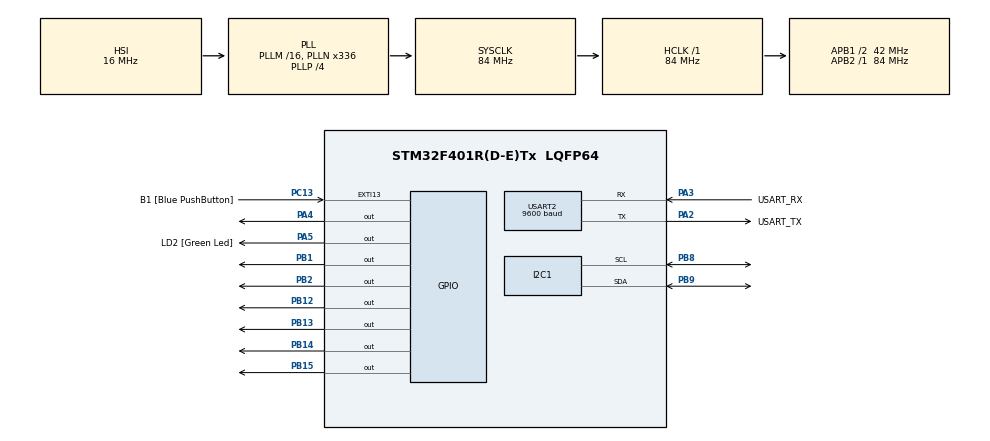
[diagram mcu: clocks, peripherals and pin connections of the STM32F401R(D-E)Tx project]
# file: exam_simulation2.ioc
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ADC1.Channel-0\#ChannelRegularConversion=ADC_CHANNEL_TEMPSENSOR
ADC1.DMAContinuousRequests=ENABLE
ADC1.ExternalTrigConv=ADC_EXTERNALTRIGCONV_T2_TRGO
ADC1.NbrOfConversionFlag=1
ADC1.Rank-0\#ChannelRegularConversion=1
ADC1.SamplingTime-0\#ChannelRegularConversion=ADC_SAMPLETIME_480CYCLES
ADC1.master=1
Dma.ADC1.3.Direction=DMA_PERIPH_TO_MEMORY
Dma.ADC1.3.FIFOMode=DMA_FIFOMODE_DISABLE
Dma.ADC1.3.Instance=DMA2_Stream0
Dma.ADC1.3.MemDataAlignment=DMA_MDATAALIGN_HALFWORD
Dma.ADC1.3.MemInc=DMA_MINC_ENABLE
Dma.ADC1.3.Mode=DMA_CIRCULAR
Dma.ADC1.3.PeriphDataAlignment=DMA_PDATAALIGN_HALFWORD
Dma.ADC1.3.PeriphInc=DMA_PINC_DISABLE
Dma.ADC1.3.Priority=DMA_PRIORITY_LOW
Dma.I2C1_RX.2.Direction=DMA_PERIPH_TO_MEMORY
Dma.I2C1_RX.2.FIFOMode=DMA_FIFOMODE_DISABLE
Dma.I2C1_RX.2.Instance=DMA1_Stream0
Dma.I2C1_RX.2.MemDataAlignment=DMA_MDATAALIGN_BYTE
Dma.I2C1_RX.2.MemInc=DMA_MINC_ENABLE
Dma.I2C1_RX.2.Mode=DMA_NORMAL
Dma.I2C1_RX.2.PeriphDataAlignment=DMA_PDATAALIGN_BYTE
Dma.I2C1_RX.2.PeriphInc=DMA_PINC_DISABLE
Dma.I2C1_RX.2.Priority=DMA_PRIORITY_LOW
Dma.I2C1_TX.1.Direction=DMA_MEMORY_TO_PERIPH
Dma.I2C1_TX.1.FIFOMode=DMA_FIFOMODE_DISABLE
Dma.I2C1_TX.1.Instance=DMA1_Stream7
Dma.I2C1_TX.1.MemDataAlignment=DMA_MDATAALIGN_BYTE
Dma.I2C1_TX.1.MemInc=DMA_MINC_ENABLE
Dma.I2C1_TX.1.Mode=DMA_NORMAL
Dma.I2C1_TX.1.PeriphDataAlignment=DMA_PDATAALIGN_BYTE
Dma.I2C1_TX.1.PeriphInc=DMA_PINC_DISABLE
Dma.I2C1_TX.1.Priority=DMA_PRIORITY_LOW
Dma.Request0=USART2_TX
Dma.Request1=I2C1_TX
Dma.Request2=I2C1_RX
Dma.Request3=ADC1
Dma.USART2_TX.0.Direction=DMA_MEMORY_TO_PERIPH
Dma.USART2_TX.0.FIFOMode=DMA_FIFOMODE_DISABLE
Dma.USART2_TX.0.Instance=DMA1_Stream6
Dma.USART2_TX.0.MemDataAlignment=DMA_MDATAALIGN_BYTE
Dma.USART2_TX.0.MemInc=DMA_MINC_ENABLE
Dma.USART2_TX.0.Mode=DMA_NORMAL
Dma.USART2_TX.0.PeriphDataAlignment=DMA_PDATAALIGN_BYTE
Dma.USART2_TX.0.PeriphInc=DMA_PINC_DISABLE
Dma.USART2_TX.0.Priority=DMA_PRIORITY_LOW
Mcu.Family=STM32F4
Mcu.Name=STM32F401R(D-E)Tx
Mcu.Package=LQFP64
NVIC.ADC_IRQn=true\:0\:0\:false\:false\:true\:true\:true\:true
NVIC.DMA1_Stream0_IRQn=true\:1\:0\:true\:false\:true\:false\:true\:true
NVIC.DMA1_Stream6_IRQn=true\:1\:0\:true\:false\:true\:false\:true\:true
NVIC.DMA1_Stream7_IRQn=true\:1\:0\:true\:false\:true\:false\:true\:true
NVIC.DMA2_Stream0_IRQn=true\:1\:0\:true\:false\:true\:false\:true\:true
NVIC.I2C1_ER_IRQn=true\:0\:0\:false\:false\:true\:true\:true\:true
NVIC.I2C1_EV_IRQn=true\:0\:0\:false\:false\:true\:true\:true\:true
NVIC.PriorityGroup=NVIC_PRIORITYGROUP_1
NVIC.TIM2_IRQn=true\:0\:0\:false\:false\:true\:true\:true\:true
NVIC.USART2_IRQn=true\:0\:0\:false\:false\:true\:true\:true\:true
PA13.GPIO_Label=TMS
PA13.Mode=Serial_Wire
PA13.Signal=SYS_JTMS-SWDIO
PA14.GPIO_Label=TCK
PA14.Mode=Serial_Wire
PA14.Signal=SYS_JTCK-SWCLK
PA2.GPIO_Label=USART_TX
PA2.GPIO_Mode=GPIO_MODE_AF_PP
PA2.GPIO_PuPd=GPIO_NOPULL
PA2.GPIO_Speed=GPIO_SPEED_FREQ_LOW
PA2.Mode=Asynchronous
PA2.Signal=USART2_TX
PA3.GPIO_Label=USART_RX
PA3.GPIO_Mode=GPIO_MODE_AF_PP
PA3.GPIO_PuPd=GPIO_NOPULL
PA3.GPIO_Speed=GPIO_SPEED_FREQ_LOW
PA3.Mode=Asynchronous
PA3.Signal=USART2_RX
PA4.Signal=GPIO_Output
PA5.GPIO_Label=LD2 [Green Led]
PA5.GPIO_Mode=GPIO_MODE_OUTPUT_PP
PA5.GPIO_PuPd=GPIO_NOPULL
PA5.GPIO_Speed=GPIO_SPEED_FREQ_LOW
PA5.Signal=GPIO_Output
PB1.Signal=GPIO_Output
PB12.Signal=GPIO_Output
PB13.Signal=GPIO_Output
PB14.Signal=GPIO_Output
PB15.Signal=GPIO_Output
PB2.Signal=GPIO_Output
PB3.GPIO_Label=SWO
PB3.Signal=SYS_JTDO-SWO
PB8.Mode=I2C
PB8.Signal=I2C1_SCL
PB9.Mode=I2C
PB9.Signal=I2C1_SDA
PC13-ANTI_TAMP.GPIO_Label=B1 [Blue PushButton]
PC13-ANTI_TAMP.GPIO_ModeDefaultEXTI=GPIO_MODE_IT_FALLING
PC13-ANTI_TAMP.GPIO_PuPd=GPIO_NOPULL
PC13-ANTI_TAMP.Signal=GPXTI13
PC14-OSC32_IN.Mode=LSE-External-Oscillator
PC14-OSC32_IN.Signal=RCC_OSC32_IN
PC15-OSC32_OUT.Mode=LSE-External-Oscillator
PC15-OSC32_OUT.Signal=RCC_OSC32_OUT
PH0\ -\ OSC_IN.Mode=HSE-External-Clock-Source
PH0\ -\ OSC_IN.Signal=RCC_OSC_IN
PH1\ -\ OSC_OUT.Mode=HSE-External-Clock-Source
PH1\ -\ OSC_OUT.Signal=RCC_OSC_OUT
ProjectManager.HeapSize=0x200
ProjectManager.StackSize=0x400
ProjectManager.TargetToolchain=STM32CubeIDE
RCC.48MHZClocksFreq_Value=48000000
RCC.AHBFreq_Value=84000000
RCC.APB1CLKDivider=RCC_HCLK_DIV2
RCC.APB1Freq_Value=42000000
RCC.APB1TimFreq_Value=84000000
RCC.APB2Freq_Value=84000000
RCC.APB2TimFreq_Value=84000000
RCC.CortexFreq_Value=84000000
RCC.HCLKFreq_Value=84000000
RCC.HSE_VALUE=8000000
RCC.HSI_VALUE=16000000
RCC.PLLN=336
RCC.PLLP=RCC_PLLP_DIV4
RCC.PLLQ=7
RCC.SYSCLKFreq_VALUE=84000000
RCC.SYSCLKSource=RCC_SYSCLKSOURCE_PLLCLK
RCC.VCOOutputFreq_Value=336000000
TIM2.Period=9999
TIM2.Prescaler=8399
TIM2.TIM_MasterOutputTrigger=TIM_TRGO_UPDATE
USART2.BaudRate=9600
USART2.VirtualMode=VM_ASYNC
VP_ADC1_TempSens_Input.Mode=IN-TempSens
VP_TIM2_VS_ClockSourceINT.Mode=Internal
board=NUCLEO-F401RE

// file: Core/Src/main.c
/* USER CODE BEGIN Header */
/**
  ******************************************************************************
  * @file           : main.c
  * @brief          : Main program body
  ******************************************************************************
  * @attention
  *
  * Copyright (c) 2024 STMicroelectronics.
  * All rights reserved.
  *
  * This software is licensed under terms that can be found in the LICENSE file
  * in the root directory of this software component.
  * If no LICENSE file comes with this software, it is provided AS-IS.
  *
  ******************************************************************************
  */
/* USER CODE END Header */
#include "main.h"

/* USER CODE BEGIN Includes */
#include <stdio.h>
#include "PMDB16_LCD.h"
/* USER CODE END Includes */

/* USER CODE BEGIN PD */
#define CONVERSIONS 1
#define FSR 3.3
#define V25 0.76
#define RESOLUTION_STEPS 4096.0
#define AVG_SLOPE 2.5
/* USER CODE END PD */

ADC_HandleTypeDef hadc1;
DMA_HandleTypeDef hdma_adc1;

I2C_HandleTypeDef hi2c1;
DMA_HandleTypeDef hdma_i2c1_tx;
DMA_HandleTypeDef hdma_i2c1_rx;

TIM_HandleTypeDef htim2;

UART_HandleTypeDef huart2;
DMA_HandleTypeDef hdma_usart2_tx;

void SystemClock_Config(void);
static void MX_GPIO_Init(void);
static void MX_DMA_Init(void);
static void MX_USART2_UART_Init(void);
static void MX_I2C1_Init(void);
static void MX_ADC1_Init(void);
static void MX_TIM2_Init(void);

/* USER CODE BEGIN 0 */
uint16_t adc_value; // array to be filled by ADC with DMA
uint16_t address = 0b10010000;	// address of temperature sensor
uint8_t reg_address = 0x00;		// address of temperature register
uint8_t array[2];				// array to contain bytes acquired from the temperature register
uint8_t int_temp;
char string2[128];
char string1[128];				// string to be transmitted through UART
int len1, len2;						// length of string
/* USER CODE END 0 */

int main(void)
{

  /* MCU Configuration--------------------------------------------------------*/

  /* Reset of all peripherals, Initializes the Flash interface and the Systick. */
  HAL_Init();

  /* Configure the system clock */
  SystemClock_Config();

  /* Initialize all configured peripherals */
  MX_GPIO_Init();
  MX_DMA_Init();
  MX_USART2_UART_Init();
  MX_I2C1_Init();
  MX_ADC1_Init();
  MX_TIM2_Init();
  /* USER CODE BEGIN 2 */
  lcd_initialize();
  lcd_backlight_ON();
  HAL_TIM_Base_Start_IT(&htim2);
  HAL_ADC_Start_DMA(&hadc1, &adc_value, 1);
  HAL_I2C_Master_Transmit(&hi2c1, address, &reg_address, 1, 50); // write temperature register address on pointer register
  /* USER CODE END 2 */

  /* Infinite loop */
  while (1)
  {

  }
}

void SystemClock_Config(void)
{
  RCC_OscInitTypeDef RCC_OscInitStruct = {0};
  RCC_ClkInitTypeDef RCC_ClkInitStruct = {0};

  /** Configure the main internal regulator output voltage
  */
  __HAL_RCC_PWR_CLK_ENABLE();
  __HAL_PWR_VOLTAGESCALING_CONFIG(PWR_REGULATOR_VOLTAGE_SCALE2);

  /** Initializes the RCC Oscillators according to the specified parameters
  * in the RCC_OscInitTypeDef structure.
  */
  RCC_OscInitStruct.OscillatorType = RCC_OSCILLATORTYPE_HSI;
  RCC_OscInitStruct.HSIState = RCC_HSI_ON;
  RCC_OscInitStruct.HSICalibrationValue = RCC_HSICALIBRATION_DEFAULT;
  RCC_OscInitStruct.PLL.PLLState = RCC_PLL_ON;
  RCC_OscInitStruct.PLL.PLLSource = RCC_PLLSOURCE_HSI;
  RCC_OscInitStruct.PLL.PLLM = 16;
  RCC_OscInitStruct.PLL.PLLN = 336;
  RCC_OscInitStruct.PLL.PLLP = RCC_PLLP_DIV4;
  RCC_OscInitStruct.PLL.PLLQ = 7;
  if (HAL_RCC_OscConfig(&RCC_OscInitStruct) != HAL_OK)
  {
    Error_Handler();
  }

  /** Initializes the CPU, AHB and APB buses clocks
  */
  RCC_ClkInitStruct.ClockType = RCC_CLOCKTYPE_HCLK|RCC_CLOCKTYPE_SYSCLK
                              |RCC_CLOCKTYPE_PCLK1|RCC_CLOCKTYPE_PCLK2;
  RCC_ClkInitStruct.SYSCLKSource = RCC_SYSCLKSOURCE_PLLCLK;
  RCC_ClkInitStruct.AHBCLKDivider = RCC_SYSCLK_DIV1;
  RCC_ClkInitStruct.APB1CLKDivider = RCC_HCLK_DIV2;
  RCC_ClkInitStruct.APB2CLKDivider = RCC_HCLK_DIV1;

  if (HAL_RCC_ClockConfig(&RCC_ClkInitStruct, FLASH_LATENCY_2) != HAL_OK)
  {
    Error_Handler();
  }
}

static void MX_ADC1_Init(void)
{

  ADC_ChannelConfTypeDef sConfig = {0};

  /** Configure the global features of the ADC (Clock, Resolution, Data Alignment and number of conversion)
  */
  hadc1.Instance = ADC1;
  hadc1.Init.ClockPrescaler = ADC_CLOCK_SYNC_PCLK_DIV4;
  hadc1.Init.Resolution = ADC_RESOLUTION_12B;
  hadc1.Init.ScanConvMode = DISABLE;
  hadc1.Init.ContinuousConvMode = DISABLE;
  hadc1.Init.DiscontinuousConvMode = DISABLE;
  hadc1.Init.ExternalTrigConvEdge = ADC_EXTERNALTRIGCONVEDGE_RISING;
  hadc1.Init.ExternalTrigConv = ADC_EXTERNALTRIGCONV_T2_TRGO;
  hadc1.Init.DataAlign = ADC_DATAALIGN_RIGHT;
  hadc1.Init.NbrOfConversion = 1;
  hadc1.Init.DMAContinuousRequests = ENABLE;
  hadc1.Init.EOCSelection = ADC_EOC_SINGLE_CONV;
  if (HAL_ADC_Init(&hadc1) != HAL_OK)
  {
    Error_Handler();
  }

  /** Configure for the selected ADC regular channel its corresponding rank in the sequencer and its sample time.
  */
  sConfig.Channel = ADC_CHANNEL_TEMPSENSOR;
  sConfig.Rank = 1;
  sConfig.SamplingTime = ADC_SAMPLETIME_480CYCLES;
  if (HAL_ADC_ConfigChannel(&hadc1, &sConfig) != HAL_OK)
  {
    Error_Handler();
  }

}

static void MX_I2C1_Init(void)
{

  hi2c1.Instance = I2C1;
  hi2c1.Init.ClockSpeed = 100000;
  hi2c1.Init.DutyCycle = I2C_DUTYCYCLE_2;
  hi2c1.Init.OwnAddress1 = 0;
  hi2c1.Init.AddressingMode = I2C_ADDRESSINGMODE_7BIT;
  hi2c1.Init.DualAddressMode = I2C_DUALADDRESS_DISABLE;
  hi2c1.Init.OwnAddress2 = 0;
  hi2c1.Init.GeneralCallMode = I2C_GENERALCALL_DISABLE;
  hi2c1.Init.NoStretchMode = I2C_NOSTRETCH_DISABLE;
  if (HAL_I2C_Init(&hi2c1) != HAL_OK)
  {
    Error_Handler();
  }

}

static void MX_TIM2_Init(void)
{

  TIM_ClockConfigTypeDef sClockSourceConfig = {0};
  TIM_MasterConfigTypeDef sMasterConfig = {0};

  htim2.Instance = TIM2;
  htim2.Init.Prescaler = 8399;
  htim2.Init.CounterMode = TIM_COUNTERMODE_UP;
  htim2.Init.Period = 9999;
  htim2.Init.ClockDivision = TIM_CLOCKDIVISION_DIV1;
  htim2.Init.AutoReloadPreload = TIM_AUTORELOAD_PRELOAD_DISABLE;
  if (HAL_TIM_Base_Init(&htim2) != HAL_OK)
  {
    Error_Handler();
  }
  sClockSourceConfig.ClockSource = TIM_CLOCKSOURCE_INTERNAL;
  if (HAL_TIM_ConfigClockSource(&htim2, &sClockSourceConfig) != HAL_OK)
  {
    Error_Handler();
  }
  sMasterConfig.MasterOutputTrigger = TIM_TRGO_UPDATE;
  sMasterConfig.MasterSlaveMode = TIM_MASTERSLAVEMODE_DISABLE;
  if (HAL_TIMEx_MasterConfigSynchronization(&htim2, &sMasterConfig) != HAL_OK)
  {
    Error_Handler();
  }

}

static void MX_USART2_UART_Init(void)
{

  huart2.Instance = USART2;
  huart2.Init.BaudRate = 9600;
  huart2.Init.WordLength = UART_WORDLENGTH_8B;
  huart2.Init.StopBits = UART_STOPBITS_1;
  huart2.Init.Parity = UART_PARITY_NONE;
  huart2.Init.Mode = UART_MODE_TX_RX;
  huart2.Init.HwFlowCtl = UART_HWCONTROL_NONE;
  huart2.Init.OverSampling = UART_OVERSAMPLING_16;
  if (HAL_UART_Init(&huart2) != HAL_OK)
  {
    Error_Handler();
  }

}

static void MX_DMA_Init(void)
{

  /* DMA controller clock enable */
  __HAL_RCC_DMA1_CLK_ENABLE();
  __HAL_RCC_DMA2_CLK_ENABLE();

  /* DMA interrupt init */
  /* DMA1_Stream0_IRQn interrupt configuration */
  HAL_NVIC_SetPriority(DMA1_Stream0_IRQn, 1, 0);
  HAL_NVIC_EnableIRQ(DMA1_Stream0_IRQn);
  /* DMA1_Stream6_IRQn interrupt configuration */
  HAL_NVIC_SetPriority(DMA1_Stream6_IRQn, 1, 0);
  HAL_NVIC_EnableIRQ(DMA1_Stream6_IRQn);
  /* DMA1_Stream7_IRQn interrupt configuration */
  HAL_NVIC_SetPriority(DMA1_Stream7_IRQn, 1, 0);
  HAL_NVIC_EnableIRQ(DMA1_Stream7_IRQn);
  /* DMA2_Stream0_IRQn interrupt configuration */
  HAL_NVIC_SetPriority(DMA2_Stream0_IRQn, 1, 0);
  HAL_NVIC_EnableIRQ(DMA2_Stream0_IRQn);

}

static void MX_GPIO_Init(void)
{
  GPIO_InitTypeDef GPIO_InitStruct = {0};

  /* GPIO Ports Clock Enable */
  __HAL_RCC_GPIOC_CLK_ENABLE();
  __HAL_RCC_GPIOH_CLK_ENABLE();
  __HAL_RCC_GPIOA_CLK_ENABLE();
  __HAL_RCC_GPIOB_CLK_ENABLE();

  /*Configure GPIO pin Output Level */
  HAL_GPIO_WritePin(GPIOA, GPIO_PIN_4|LD2_Pin, GPIO_PIN_RESET);

  /*Configure GPIO pin Output Level */
  HAL_GPIO_WritePin(GPIOB, GPIO_PIN_1|GPIO_PIN_2|GPIO_PIN_12|GPIO_PIN_13
                          |GPIO_PIN_14|GPIO_PIN_15, GPIO_PIN_RESET);

  /*Configure GPIO pin : B1_Pin */
  GPIO_InitStruct.Pin = B1_Pin;
  GPIO_InitStruct.Mode = GPIO_MODE_IT_FALLING;
  GPIO_InitStruct.Pull = GPIO_NOPULL;
  HAL_GPIO_Init(B1_GPIO_Port, &GPIO_InitStruct);

  /*Configure GPIO pins : PA4 LD2_Pin */
  GPIO_InitStruct.Pin = GPIO_PIN_4|LD2_Pin;
  GPIO_InitStruct.Mode = GPIO_MODE_OUTPUT_PP;
  GPIO_InitStruct.Pull = GPIO_NOPULL;
  GPIO_InitStruct.Speed = GPIO_SPEED_FREQ_LOW;
  HAL_GPIO_Init(GPIOA, &GPIO_InitStruct);

  /*Configure GPIO pins : PB1 PB2 PB12 PB13
                           PB14 PB15 */
  GPIO_InitStruct.Pin = GPIO_PIN_1|GPIO_PIN_2|GPIO_PIN_12|GPIO_PIN_13
                          |GPIO_PIN_14|GPIO_PIN_15;
  GPIO_InitStruct.Mode = GPIO_MODE_OUTPUT_PP;
  GPIO_InitStruct.Pull = GPIO_NOPULL;
  GPIO_InitStruct.Speed = GPIO_SPEED_FREQ_LOW;
  HAL_GPIO_Init(GPIOB, &GPIO_InitStruct);

}

/* USER CODE BEGIN 4 */
void HAL_ADC_ConvCpltCallback(ADC_HandleTypeDef* hadc) {
	int_temp = (adc_value * FSR/RESOLUTION_STEPS - V25)/AVG_SLOPE + 25;

	HAL_I2C_Master_Receive_DMA(&hi2c1, address+1, array, 2); // address+1 -> read mode
}

void HAL_I2C_MasterRxCpltCallback(I2C_HandleTypeDef *hi2c) {
	int16_t value = (array[0] << 8) | array[1];
	float temp = value/256.0;
	len1 = snprintf(string1, sizeof(string1), "IntTemp: %d C\n", int_temp);
	len2 = snprintf(string2, sizeof(string2), "Temp: %.1f C\n", temp);

	lcd_println(string1, 0);
	lcd_println(string2, 1);
	if (int_temp > temp)
		HAL_UART_Transmit_DMA(&huart2, string1, len1);
	else
		HAL_UART_Transmit_DMA(&huart2, string2, len2);
}
/* USER CODE END 4 */

void Error_Handler(void)
{
  __disable_irq();
  while (1)
  {
  }
}
